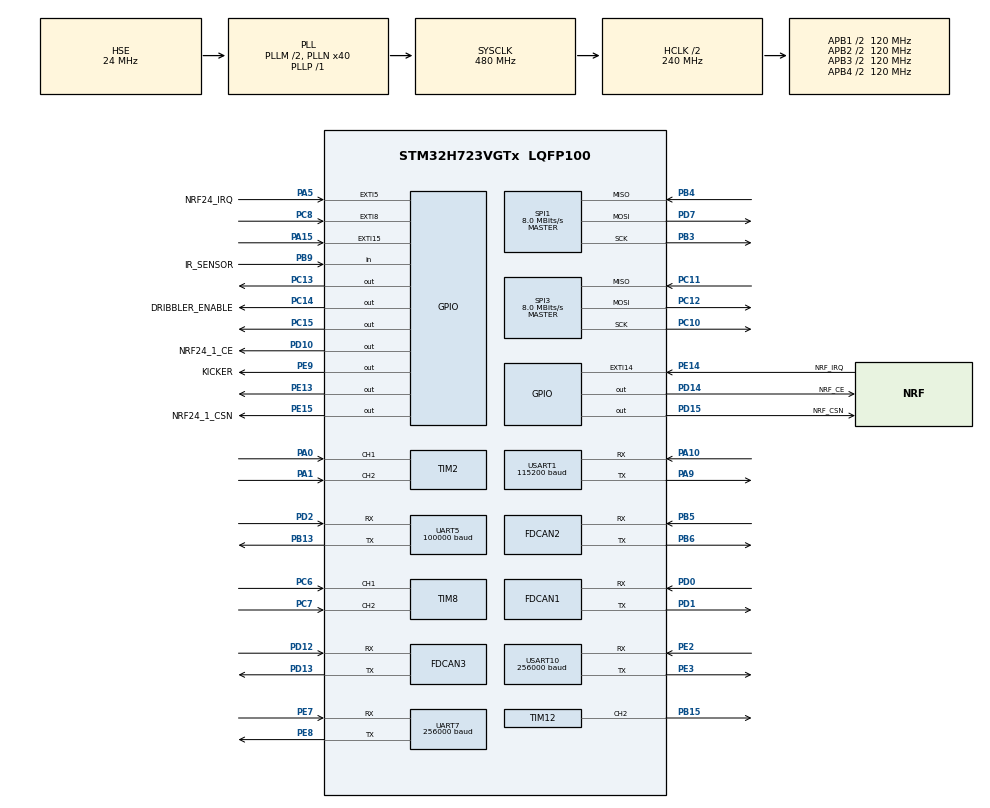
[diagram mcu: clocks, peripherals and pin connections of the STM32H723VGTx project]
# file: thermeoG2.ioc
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Dma.Request0=USART10_RX
Dma.Request1=USART10_TX
Dma.Request2=UART7_RX
Dma.Request3=UART7_TX
Dma.Request4=UART5_RX
Dma.Request5=USART1_TX
Dma.Request6=USART1_RX
Dma.UART5_RX.4.Direction=DMA_PERIPH_TO_MEMORY
Dma.UART5_RX.4.EventEnable=DISABLE
Dma.UART5_RX.4.FIFOMode=DMA_FIFOMODE_DISABLE
Dma.UART5_RX.4.Instance=DMA1_Stream1
Dma.UART5_RX.4.MemDataAlignment=DMA_MDATAALIGN_BYTE
Dma.UART5_RX.4.MemInc=DMA_MINC_ENABLE
Dma.UART5_RX.4.Mode=DMA_NORMAL
Dma.UART5_RX.4.PeriphDataAlignment=DMA_PDATAALIGN_BYTE
Dma.UART5_RX.4.PeriphInc=DMA_PINC_DISABLE
Dma.UART5_RX.4.Polarity=HAL_DMAMUX_REQ_GEN_RISING
Dma.UART5_RX.4.Priority=DMA_PRIORITY_LOW
Dma.UART5_RX.4.RequestNumber=1
Dma.UART5_RX.4.SignalID=NONE
Dma.UART5_RX.4.SyncEnable=DISABLE
Dma.UART5_RX.4.SyncPolarity=HAL_DMAMUX_SYNC_NO_EVENT
Dma.UART5_RX.4.SyncRequestNumber=1
Dma.UART5_RX.4.SyncSignalID=NONE
Dma.UART7_RX.2.Direction=DMA_PERIPH_TO_MEMORY
Dma.UART7_RX.2.EventEnable=DISABLE
Dma.UART7_RX.2.FIFOMode=DMA_FIFOMODE_DISABLE
Dma.UART7_RX.2.Instance=DMA1_Stream2
Dma.UART7_RX.2.MemDataAlignment=DMA_MDATAALIGN_BYTE
Dma.UART7_RX.2.MemInc=DMA_MINC_ENABLE
Dma.UART7_RX.2.Mode=DMA_NORMAL
Dma.UART7_RX.2.PeriphDataAlignment=DMA_PDATAALIGN_BYTE
Dma.UART7_RX.2.PeriphInc=DMA_PINC_DISABLE
Dma.UART7_RX.2.Polarity=HAL_DMAMUX_REQ_GEN_RISING
Dma.UART7_RX.2.Priority=DMA_PRIORITY_HIGH
Dma.UART7_RX.2.RequestNumber=1
Dma.UART7_RX.2.SignalID=NONE
Dma.UART7_RX.2.SyncEnable=DISABLE
Dma.UART7_RX.2.SyncPolarity=HAL_DMAMUX_SYNC_NO_EVENT
Dma.UART7_RX.2.SyncRequestNumber=1
Dma.UART7_RX.2.SyncSignalID=NONE
Dma.UART7_TX.3.Direction=DMA_MEMORY_TO_PERIPH
Dma.UART7_TX.3.EventEnable=DISABLE
Dma.UART7_TX.3.FIFOMode=DMA_FIFOMODE_DISABLE
Dma.UART7_TX.3.Instance=DMA1_Stream3
Dma.UART7_TX.3.MemDataAlignment=DMA_MDATAALIGN_BYTE
Dma.UART7_TX.3.MemInc=DMA_MINC_ENABLE
Dma.UART7_TX.3.Mode=DMA_NORMAL
Dma.UART7_TX.3.PeriphDataAlignment=DMA_PDATAALIGN_BYTE
Dma.UART7_TX.3.PeriphInc=DMA_PINC_DISABLE
Dma.UART7_TX.3.Polarity=HAL_DMAMUX_REQ_GEN_RISING
Dma.UART7_TX.3.Priority=DMA_PRIORITY_HIGH
Dma.UART7_TX.3.RequestNumber=1
Dma.UART7_TX.3.SignalID=NONE
Dma.UART7_TX.3.SyncEnable=DISABLE
Dma.UART7_TX.3.SyncPolarity=HAL_DMAMUX_SYNC_NO_EVENT
Dma.UART7_TX.3.SyncRequestNumber=1
Dma.UART7_TX.3.SyncSignalID=NONE
Dma.USART10_RX.0.Direction=DMA_PERIPH_TO_MEMORY
Dma.USART10_RX.0.EventEnable=DISABLE
Dma.USART10_RX.0.FIFOMode=DMA_FIFOMODE_DISABLE
Dma.USART10_RX.0.Instance=DMA1_Stream0
Dma.USART10_RX.0.MemDataAlignment=DMA_MDATAALIGN_BYTE
Dma.USART10_RX.0.MemInc=DMA_MINC_ENABLE
Dma.USART10_RX.0.Mode=DMA_NORMAL
Dma.USART10_RX.0.PeriphDataAlignment=DMA_PDATAALIGN_BYTE
Dma.USART10_RX.0.PeriphInc=DMA_PINC_DISABLE
Dma.USART10_RX.0.Polarity=HAL_DMAMUX_REQ_GEN_RISING
Dma.USART10_RX.0.Priority=DMA_PRIORITY_LOW
Dma.USART10_RX.0.RequestNumber=1
Dma.USART10_RX.0.SignalID=NONE
Dma.USART10_RX.0.SyncEnable=DISABLE
Dma.USART10_RX.0.SyncPolarity=HAL_DMAMUX_SYNC_NO_EVENT
Dma.USART10_RX.0.SyncRequestNumber=1
Dma.USART10_RX.0.SyncSignalID=NONE
Dma.USART10_TX.1.Direction=DMA_MEMORY_TO_PERIPH
Dma.USART10_TX.1.EventEnable=DISABLE
Dma.USART10_TX.1.FIFOMode=DMA_FIFOMODE_DISABLE
Dma.USART10_TX.1.Instance=DMA1_Stream4
Dma.USART10_TX.1.MemDataAlignment=DMA_MDATAALIGN_BYTE
Dma.USART10_TX.1.MemInc=DMA_MINC_ENABLE
Dma.USART10_TX.1.Mode=DMA_NORMAL
Dma.USART10_TX.1.PeriphDataAlignment=DMA_PDATAALIGN_BYTE
Dma.USART10_TX.1.PeriphInc=DMA_PINC_DISABLE
Dma.USART10_TX.1.Polarity=HAL_DMAMUX_REQ_GEN_RISING
Dma.USART10_TX.1.Priority=DMA_PRIORITY_LOW
Dma.USART10_TX.1.RequestNumber=1
Dma.USART10_TX.1.SignalID=NONE
Dma.USART10_TX.1.SyncEnable=DISABLE
Dma.USART10_TX.1.SyncPolarity=HAL_DMAMUX_SYNC_NO_EVENT
Dma.USART10_TX.1.SyncRequestNumber=1
Dma.USART10_TX.1.SyncSignalID=NONE
Dma.USART1_RX.6.Direction=DMA_PERIPH_TO_MEMORY
Dma.USART1_RX.6.EventEnable=DISABLE
Dma.USART1_RX.6.FIFOMode=DMA_FIFOMODE_DISABLE
Dma.USART1_RX.6.Instance=DMA1_Stream6
Dma.USART1_RX.6.MemDataAlignment=DMA_MDATAALIGN_BYTE
Dma.USART1_RX.6.MemInc=DMA_MINC_ENABLE
Dma.USART1_RX.6.Mode=DMA_NORMAL
Dma.USART1_RX.6.PeriphDataAlignment=DMA_PDATAALIGN_BYTE
Dma.USART1_RX.6.PeriphInc=DMA_PINC_DISABLE
Dma.USART1_RX.6.Polarity=HAL_DMAMUX_REQ_GEN_RISING
Dma.USART1_RX.6.Priority=DMA_PRIORITY_LOW
Dma.USART1_RX.6.RequestNumber=1
Dma.USART1_RX.6.SignalID=NONE
Dma.USART1_RX.6.SyncEnable=DISABLE
Dma.USART1_RX.6.SyncPolarity=HAL_DMAMUX_SYNC_NO_EVENT
Dma.USART1_RX.6.SyncRequestNumber=1
Dma.USART1_RX.6.SyncSignalID=NONE
Dma.USART1_TX.5.Direction=DMA_MEMORY_TO_PERIPH
Dma.USART1_TX.5.EventEnable=DISABLE
Dma.USART1_TX.5.FIFOMode=DMA_FIFOMODE_DISABLE
Dma.USART1_TX.5.Instance=DMA1_Stream5
Dma.USART1_TX.5.MemDataAlignment=DMA_MDATAALIGN_BYTE
Dma.USART1_TX.5.MemInc=DMA_MINC_ENABLE
Dma.USART1_TX.5.Mode=DMA_NORMAL
Dma.USART1_TX.5.PeriphDataAlignment=DMA_PDATAALIGN_BYTE
Dma.USART1_TX.5.PeriphInc=DMA_PINC_DISABLE
Dma.USART1_TX.5.Polarity=HAL_DMAMUX_REQ_GEN_RISING
Dma.USART1_TX.5.Priority=DMA_PRIORITY_LOW
Dma.USART1_TX.5.RequestNumber=1
Dma.USART1_TX.5.SignalID=NONE
Dma.USART1_TX.5.SyncEnable=DISABLE
Dma.USART1_TX.5.SyncPolarity=HAL_DMAMUX_SYNC_NO_EVENT
Dma.USART1_TX.5.SyncRequestNumber=1
Dma.USART1_TX.5.SyncSignalID=NONE
FDCAN1.CalculateBaudRateNominal=1000000
FDCAN1.CalculateTimeBitNominal=1000
FDCAN1.CalculateTimeQuantumNominal=25.0
FDCAN1.DataPrescaler=3
FDCAN1.DataSyncJumpWidth=10
FDCAN1.DataTimeSeg1=29
FDCAN1.DataTimeSeg2=10
FDCAN1.ExtFiltersNbr=0
FDCAN1.NominalPrescaler=3
FDCAN1.NominalSyncJumpWidth=10
FDCAN1.NominalTimeSeg1=29
FDCAN1.NominalTimeSeg2=10
FDCAN1.ProtocolException=ENABLE
FDCAN1.RxFifo0ElmtsNbr=4
FDCAN1.StdFiltersNbr=1
FDCAN1.TxFifoQueueElmtsNbr=2
FDCAN2.CalculateBaudRateNominal=1000000
FDCAN2.CalculateTimeBitNominal=1000
FDCAN2.CalculateTimeQuantumNominal=25.0
FDCAN2.DataPrescaler=3
FDCAN2.DataSyncJumpWidth=10
FDCAN2.DataTimeSeg1=29
FDCAN2.DataTimeSeg2=10
FDCAN2.NominalPrescaler=3
FDCAN2.NominalSyncJumpWidth=10
FDCAN2.NominalTimeSeg1=29
FDCAN2.NominalTimeSeg2=10
FDCAN2.ProtocolException=ENABLE
FDCAN2.RxFifo0ElmtsNbr=4
FDCAN2.StdFiltersNbr=1
FDCAN2.TxFifoQueueElmtsNbr=2
FDCAN3.CalculateBaudRateNominal=1000000
FDCAN3.CalculateTimeBitNominal=1000
FDCAN3.CalculateTimeQuantumNominal=25.0
FDCAN3.DataPrescaler=3
FDCAN3.DataSyncJumpWidth=10
FDCAN3.DataTimeSeg1=29
FDCAN3.DataTimeSeg2=10
FDCAN3.NominalPrescaler=3
FDCAN3.NominalSyncJumpWidth=10
FDCAN3.NominalTimeSeg1=29
FDCAN3.NominalTimeSeg2=10
FDCAN3.ProtocolException=ENABLE
FDCAN3.RxFifo0ElmtsNbr=4
FDCAN3.StdFiltersNbr=1
FDCAN3.TxFifoQueueElmtsNbr=2
FREERTOS.Tasks01=defaultTask,24,128,StartDefaultTask,Default,NULL,Dynamic,NULL,NULL
Mcu.Family=STM32H7
Mcu.Name=STM32H723VGTx
Mcu.Package=LQFP100
NVIC.DMA1_Stream0_IRQn=true\:5\:0\:false\:false\:true\:true\:false\:true\:true
NVIC.DMA1_Stream1_IRQn=true\:5\:0\:false\:false\:true\:true\:false\:true\:true
NVIC.DMA1_Stream2_IRQn=true\:5\:0\:false\:false\:true\:true\:false\:true\:true
NVIC.DMA1_Stream3_IRQn=true\:5\:0\:false\:false\:true\:true\:false\:true\:true
NVIC.DMA1_Stream4_IRQn=true\:5\:0\:false\:false\:true\:true\:false\:true\:true
NVIC.DMA1_Stream5_IRQn=true\:5\:0\:false\:false\:true\:true\:false\:true\:true
NVIC.DMA1_Stream6_IRQn=true\:5\:0\:false\:false\:true\:true\:false\:true\:true
NVIC.EXTI15_10_IRQn=true\:5\:0\:true\:false\:true\:true\:true\:true\:true
NVIC.EXTI9_5_IRQn=true\:5\:0\:true\:false\:true\:true\:true\:true\:true
NVIC.FDCAN3_IT0_IRQn=true\:10\:0\:true\:false\:true\:true\:true\:true\:true
NVIC.FDCAN3_IT1_IRQn=true\:10\:0\:true\:false\:true\:true\:true\:true\:true
NVIC.FDCAN_CAL_IRQn=true\:5\:0\:false\:false\:true\:true\:true\:true\:true
NVIC.PriorityGroup=NVIC_PRIORITYGROUP_4
NVIC.SPI1_IRQn=true\:11\:0\:true\:false\:true\:true\:true\:true\:true
NVIC.TIM23_IRQn=true\:5\:0\:false\:false\:true\:true\:true\:true\:true
NVIC.TIM4_IRQn=true\:5\:0\:false\:false\:true\:true\:true\:true\:true
NVIC.TIM6_DAC_IRQn=true\:15\:0\:true\:false\:true\:false\:false\:true\:true
NVIC.TimeBase=TIM6_DAC_IRQn
NVIC.TimeBaseIP=TIM6
NVIC.UART5_IRQn=true\:5\:0\:false\:false\:true\:true\:true\:true\:true
NVIC.UART7_IRQn=true\:5\:0\:true\:false\:true\:true\:true\:true\:true
NVIC.USART10_IRQn=true\:5\:0\:true\:false\:true\:true\:true\:true\:true
NVIC.USART1_IRQn=true\:5\:0\:true\:false\:true\:true\:true\:true\:true
PA0.Signal=S_TIM2_CH1_ETR
PA1.Signal=S_TIM2_CH2
PA10.Mode=Asynchronous
PA10.Signal=USART1_RX
PA13(JTMS/SWDIO).Mode=Serial_Wire
PA13(JTMS/SWDIO).Signal=DEBUG_JTMS-SWDIO
PA14(JTCK/SWCLK).Mode=Serial_Wire
PA14(JTCK/SWCLK).Signal=DEBUG_JTCK-SWCLK
PA15(JTDI).GPIO_ModeDefaultEXTI=GPIO_MODE_IT_RISING_FALLING
PA15(JTDI).GPIO_PuPd=GPIO_NOPULL
PA15(JTDI).Signal=GPXTI15
PA5.GPIO_Label=NRF24_IRQ
PA5.GPIO_ModeDefaultEXTI=GPIO_MODE_IT_FALLING
PA5.Signal=GPXTI5
PA9.Mode=Asynchronous
PA9.Signal=USART1_TX
PB13.Mode=Asynchronous
PB13.Signal=UART5_TX
PB15.Signal=S_TIM12_CH2
PB3(JTDO/TRACESWO).Mode=Full_Duplex_Master
PB3(JTDO/TRACESWO).Signal=SPI1_SCK
PB4(NJTRST).Mode=Full_Duplex_Master
PB4(NJTRST).Signal=SPI1_MISO
PB5.Mode=FDCAN_Activate
PB5.Signal=FDCAN2_RX
PB6.Mode=FDCAN_Activate
PB6.Signal=FDCAN2_TX
PB9.GPIO_Label=IR_SENSOR
PB9.Signal=GPIO_Input
PC10.Mode=Full_Duplex_Master
PC10.Signal=SPI3_SCK
PC11.Mode=Full_Duplex_Master
PC11.Signal=SPI3_MISO
PC12.Mode=Full_Duplex_Master
PC12.Signal=SPI3_MOSI
PC13.Signal=GPIO_Output
PC14-OSC32_IN.GPIO_Label=DRIBBLER_ENABLE
PC14-OSC32_IN.Signal=GPIO_Output
PC15-OSC32_OUT.Signal=GPIO_Output
PC6.Signal=S_TIM8_CH1
PC7.Signal=S_TIM8_CH2
PC8.GPIO_ModeDefaultEXTI=GPIO_MODE_IT_RISING
PC8.GPIO_PuPd=GPIO_NOPULL
PC8.Signal=GPXTI8
PD0.Mode=FDCAN_Activate
PD0.Signal=FDCAN1_RX
PD1.Mode=FDCAN_Activate
PD1.Signal=FDCAN1_TX
PD10.GPIO_Label=NRF24_1_CE
PD10.GPIO_Speed=GPIO_SPEED_FREQ_HIGH
PD10.PinState=GPIO_PIN_RESET
PD10.Signal=GPIO_Output
PD12.Mode=FDCAN_Activate
PD12.Signal=FDCAN3_RX
PD13.Mode=FDCAN_Activate
PD13.Signal=FDCAN3_TX
PD14.GPIO_Label=NRF_CE
PD14.GPIO_Speed=GPIO_SPEED_FREQ_HIGH
PD14.Signal=GPIO_Output
PD15.GPIO_Label=NRF_CSN
PD15.Signal=GPIO_Output
PD2.Mode=Asynchronous
PD2.Signal=UART5_RX
PD7.Mode=Full_Duplex_Master
PD7.Signal=SPI1_MOSI
PE13.Signal=GPIO_Output
PE14.GPIO_Label=NRF_IRQ
PE14.GPIO_ModeDefaultEXTI=GPIO_MODE_IT_FALLING
PE14.Signal=GPXTI14
PE15.GPIO_Label=NRF24_1_CSN
PE15.PinState=GPIO_PIN_RESET
PE15.Signal=GPIO_Output
PE2.Mode=Asynchronous
PE2.Signal=USART10_RX
PE3.Mode=Asynchronous
PE3.Signal=USART10_TX
PE7.Mode=Asynchronous
PE7.Signal=UART7_RX
PE8.Mode=Asynchronous
PE8.Signal=UART7_TX
PE9.GPIO_Label=KICKER
PE9.Signal=GPIO_Output
PH0-OSC_IN.Mode=HSE-External-Oscillator
PH0-OSC_IN.Signal=RCC_OSC_IN
PH1-OSC_OUT.Mode=HSE-External-Oscillator
PH1-OSC_OUT.Signal=RCC_OSC_OUT
ProjectManager.HeapSize=0x200
ProjectManager.StackSize=0x400
ProjectManager.TargetToolchain=Makefile
RCC.ADCFreq_Value=48375000
RCC.APB1Freq_Value=120000000
RCC.APB2Freq_Value=120000000
RCC.APB3Freq_Value=120000000
RCC.APB4Freq_Value=120000000
RCC.CortexFreq_Value=480000000
RCC.D1PPRE=RCC_APB3_DIV2
RCC.D2PPRE1=RCC_APB1_DIV2
RCC.D2PPRE2=RCC_APB2_DIV2
RCC.D3PPRE=RCC_APB4_DIV2
RCC.DIVM1=2
RCC.DIVN1=40
RCC.DIVP1=1
RCC.DIVQ1=4
RCC.HCLKFreq_Value=240000000
RCC.HPRE=RCC_HCLK_DIV2
RCC.HSE_VALUE=24000000
RCC.PLL2FRACN=0
RCC.PLL3FRACN=0
RCC.PLLFRACN=0
RCC.PLLSourceVirtual=RCC_PLLSOURCE_HSE
RCC.SPI123CLockSelection=RCC_SPI123CLKSOURCE_CLKP
RCC.SYSCLKFreq_VALUE=480000000
RCC.SYSCLKSource=RCC_SYSCLKSOURCE_PLLCLK
RCC.USBFreq_Value=120000000
SH.S_TIM12_CH2.0=TIM12_CH2,PWM Generation2 CH2
SH.S_TIM2_CH1_ETR.0=TIM2_CH1,Encoder_Interface
SH.S_TIM2_CH2.0=TIM2_CH2,Encoder_Interface
SH.S_TIM8_CH1.0=TIM8_CH1,Encoder_Interface
SH.S_TIM8_CH2.0=TIM8_CH2,Encoder_Interface
SPI1.BaudRatePrescaler=SPI_BAUDRATEPRESCALER_8
SPI1.CLKPolarity=SPI_POLARITY_LOW
SPI1.CRCCalculation=SPI_CRCCALCULATION_DISABLE
SPI1.CalculateBaudRate=8.0 MBits/s
SPI1.DataSize=SPI_DATASIZE_8BIT
SPI1.Direction=SPI_DIRECTION_2LINES
SPI1.Mode=SPI_MODE_MASTER
SPI1.VirtualType=VM_MASTER
SPI3.BaudRatePrescaler=SPI_BAUDRATEPRESCALER_8
SPI3.CalculateBaudRate=8.0 MBits/s
SPI3.DataSize=SPI_DATASIZE_8BIT
SPI3.Direction=SPI_DIRECTION_2LINES
SPI3.Mode=SPI_MODE_MASTER
SPI3.VirtualType=VM_MASTER
TIM1.Prescaler=134
TIM12.Channel-PWM\ Generation2\ CH2=TIM_CHANNEL_2
TIM23.Period=720
TIM23.Prescaler=10000
TIM4.Period=5000
TIM4.Prescaler=24000
TIM8.EncoderMode=TIM_ENCODERMODE_TI12
UART5.BaudRate=100000
UART5.Parity=PARITY_EVEN
UART5.RxPinLevelInvertParam=UART_ADVFEATURE_RXINV_DISABLE
UART5.StopBits=UART_STOPBITS_2
UART5.WordLength=WORDLENGTH_9B
UART7.BaudRate=256000
USART1.BaudRate=115200
USART1.DataInvertParam=ADVFEATURE_DATAINV_DISABLE
USART1.Parity=PARITY_EVEN
USART1.StopBits=STOPBITS_2
USART1.SwapParam=ADVFEATURE_SWAP_DISABLE
USART1.VirtualMode-Asynchronous=VM_ASYNC
USART1.WordLength=WORDLENGTH_9B
USART10.BaudRate=256000
USART10.FIFOMode=FIFOMODE_DISABLE
USART10.VirtualMode=VM_ASYNC
VP_FREERTOS_VS_CMSIS_V2.Mode=CMSIS_V2
VP_MEMORYMAP_VS_MEMORYMAP.Mode=CurAppReg
VP_SYS_VS_tim6.Mode=TIM6
VP_TIM1_VS_ClockSourceINT.Mode=Internal
VP_TIM23_VS_ClockSourceINT.Mode=Internal
VP_TIM4_VS_ClockSourceINT.Mode=Internal
board=custom

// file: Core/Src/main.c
/* USER CODE BEGIN Header */
/**
  ******************************************************************************
  * @file           : main.c
  * @brief          : Main program body
  ******************************************************************************
  * @attention
  *
  * Copyright (c) 2025 STMicroelectronics.
  * All rights reserved.
  *
  * This software is licensed under terms that can be found in the LICENSE file
  * in the root directory of this software component.
  * If no LICENSE file comes with this software, it is provided AS-IS.
  *
  ******************************************************************************
  */
/* USER CODE END Header */
#include "main.h"
#include "cmsis_os.h"
#include "dma.h"
#include "fdcan.h"
#include "spi.h"
#include "tim.h"
#include "usart.h"
#include "gpio.h"

/* USER CODE BEGIN Includes */
#include "radio/radio.h"
#include "bsp_pid.h"
#include "bsp_motor_feedback.h"
#include "bsp_inverse_kinematics.h"
#include "bsp_fdcan.h"
#include "bsp_sbus_controller.h"
#include <math.h>
#include <string.h>
/* USER CODE END Includes */

/* USER CODE BEGIN PD */
/* Motor control parameters */
#define MOTOR_COUNT 4
#define MOTOR_ID_1 0x201
#define MOTOR_ID_2 0x202
#define MOTOR_ID_3 0x203
#define MOTOR_ID_4 0x204
#define RPM_TO_RADS 0.10472f  // 2*pi/60 to convert RPM to rad/s

/* USER CODE END PD */

/* USER CODE BEGIN PV */
// Debug flags
volatile uint8_t can_init_status = 0;    // 0=not initialized, 1=success, 2=failed
volatile uint32_t can_tx_count = 0;      // Count of successful transmissions
volatile uint32_t can_error_count = 0;   // Count of transmission errors

// Motor control variables
float motor1_error_sum = 0.0f;
float motor1_last_error = 0.0f;
float motor2_error_sum = 0.0f;
float motor2_last_error = 0.0f;
float motor3_error_sum = 0.0f;
float motor3_last_error = 0.0f;
float motor4_error_sum = 0.0f;
float motor4_last_error = 0.0f;

// Output filtering variables
float output1_filtered = 0.0f;
float output2_filtered = 0.0f;
float output3_filtered = 0.0f;
float output4_filtered = 0.0f;

// Low-pass filter coefficient
volatile float alpha = 0.2f;

// Add debug counters for CAN reception
extern volatile uint32_t can1_rx_count;
extern volatile uint32_t can2_rx_count;
extern volatile uint32_t can3_rx_count;

/* USER CODE END PV */

void SystemClock_Config(void);
void PeriphCommonClock_Config(void);
void MX_FREERTOS_Init(void);

/* USER CODE BEGIN 0 */
// Redirect printf to UART
int _write(int file, char *ptr, int len)
{
    HAL_UART_Transmit(&huart1, (uint8_t*)ptr, len, HAL_MAX_DELAY);
    return len;
}
/* USER CODE END 0 */

int main(void)
{

  /* USER CODE BEGIN 1 */

  NRF24_TypeDef nrf24_1;
  /* USER CODE END 1 */

  /* MCU Configuration--------------------------------------------------------*/

  /* Reset of all peripherals, Initializes the Flash interface and the Systick. */
  HAL_Init();

  /* USER CODE BEGIN Init */

    nrf24_1.hspi = &hspi1;
    nrf24_1.cePort = NRF24_1_CE_GPIO_Port;
    nrf24_1.cePin = NRF24_1_CE_Pin;
    nrf24_1.csPort = NRF24_1_CSN_GPIO_Port;
    nrf24_1.csPin = NRF24_1_CSN_Pin;
  /* USER CODE END Init */

  /* Configure the system clock */
  SystemClock_Config();

  /* Configure the peripherals common clocks */
  PeriphCommonClock_Config();

  /* Initialize all configured peripherals */
  MX_GPIO_Init();
  MX_DMA_Init();
  MX_TIM1_Init();
  MX_USART10_UART_Init();
  MX_UART7_Init();
  MX_FDCAN1_Init();
  MX_FDCAN2_Init();
  MX_UART5_Init();
  MX_TIM2_Init();
  MX_SPI1_Init();
  MX_USART1_UART_Init();
  MX_TIM4_Init();
  MX_FDCAN3_Init();
  MX_TIM8_Init();
  MX_TIM23_Init();
  MX_TIM12_Init();
  MX_SPI3_Init();
  /* USER CODE BEGIN 2 */
  /*power init begin*/
  HAL_GPIO_WritePin(GPIOC,GPIO_PIN_14,GPIO_PIN_SET);
  HAL_GPIO_WritePin(GPIOC,GPIO_PIN_13,GPIO_PIN_SET);
  HAL_GPIO_WritePin(GPIOC,GPIO_PIN_15,GPIO_PIN_SET);

  // Initialize FDCAN with BSP function
  BSP_FDCAN_Init();
  BSP_InverseKinematics_Init();
  can_init_status = 1;  // Success

  HAL_TIM_Base_Start_IT(&htim4);

  radio(&nrf24_1);
  /* USER CODE END 2 */

  /* Init scheduler */
  osKernelInitialize();  /* Call init function for freertos objects (in cmsis_os2.c) */
  MX_FREERTOS_Init();

  /* Start scheduler */
  osKernelStart();

  /* We should never get here as control is now taken by the scheduler */

  /* Infinite loop */
  while (1)
  {

    /* USER CODE BEGIN 3 */
    // Poll NRF24 for new data
    poll(&nrf24_1);

    // Map NRF24 received values to velocities
    float vx = currentPacket.forward_vel;  // Forward/backward
    float vy = currentPacket.left_vel;     // Left/right
    float omega = currentPacket.angular_vel; // Angular velocity

    // Calculate target wheel velocities using inverse kinematics
    float wheel_velocities[4];  // Now 4 elements
    BSP_InverseKinematics_Calculate(vx, vy, omega, wheel_velocities);

    // Get actual motor velocities from FDCAN feedback
    motor_feedback_t* feedback1 = BSP_MotorFeedback_GetMotorData(0);
    motor_feedback_t* feedback2 = BSP_MotorFeedback_GetMotorData(1);
    motor_feedback_t* feedback3 = BSP_MotorFeedback_GetMotorData(2);
    motor_feedback_t* feedback4 = BSP_MotorFeedback_GetMotorData(3);

    // Convert rotor speed to wheel speed by dividing by gear ratio
    float actual_velocity1 = feedback1 ? (feedback1->rotor_speed * RPM_TO_RADS) / GEAR_RATIO : 0.0f;
    float actual_velocity2 = feedback2 ? (feedback2->rotor_speed * RPM_TO_RADS) / GEAR_RATIO : 0.0f;
    float actual_velocity3 = feedback3 ? (feedback3->rotor_speed * RPM_TO_RADS) / GEAR_RATIO : 0.0f;
    float actual_velocity4 = feedback4 ? (feedback4->rotor_speed * RPM_TO_RADS) / GEAR_RATIO : 0.0f;

    // Calculate motor outputs using PID and apply low-pass filter
    output1_filtered = alpha * BSP_PID_Calculate(0, wheel_velocities[0], actual_velocity1) +
                      (1.0f - alpha) * output1_filtered;
    output2_filtered = alpha * BSP_PID_Calculate(1, wheel_velocities[1], actual_velocity2) +
                      (1.0f - alpha) * output2_filtered;
    output3_filtered = alpha * BSP_PID_Calculate(2, wheel_velocities[2], actual_velocity3) +
                      (1.0f - alpha) * output3_filtered;
    output4_filtered = alpha * BSP_PID_Calculate(3, wheel_velocities[3], actual_velocity4) +
                      (1.0f - alpha) * output4_filtered;

    // Convert to CAN format (-16384 to 16384 for DM3519)
    int16_t output1_int = (int16_t)(output1_filtered);
    int16_t output2_int = (int16_t)(output2_filtered);
    int16_t output3_int = (int16_t)(output3_filtered);
    int16_t output4_int = (int16_t)(output4_filtered);

    // Pack data into CAN message
    uint8_t can_cmd[8] = {0};
    can_cmd[0] = (output1_int >> 8) & 0xFF;
    can_cmd[1] = output1_int & 0xFF;
    can_cmd[2] = (output2_int >> 8) & 0xFF;
    can_cmd[3] = output2_int & 0xFF;
    can_cmd[4] = (output3_int >> 8) & 0xFF;
    can_cmd[5] = output3_int & 0xFF;
    can_cmd[6] = (output4_int >> 8) & 0xFF;
    can_cmd[7] = output4_int & 0xFF;

    // Send CAN message
    BSP_FDCAN_Send_Message(&hfdcan3, 0x200, can_cmd, 8);

    HAL_Delay(CONTROL_PERIOD_MS);
  }
  /* USER CODE END 3 */
}

void SystemClock_Config(void)
{
  RCC_OscInitTypeDef RCC_OscInitStruct = {0};
  RCC_ClkInitTypeDef RCC_ClkInitStruct = {0};

  /** Supply configuration update enable
  */
  HAL_PWREx_ConfigSupply(PWR_LDO_SUPPLY);

  /** Configure the main internal regulator output voltage
  */
  __HAL_PWR_VOLTAGESCALING_CONFIG(PWR_REGULATOR_VOLTAGE_SCALE0);

  while(!__HAL_PWR_GET_FLAG(PWR_FLAG_VOSRDY)) {}

  /** Initializes the RCC Oscillators according to the specified parameters
  * in the RCC_OscInitTypeDef structure.
  */
  RCC_OscInitStruct.OscillatorType = RCC_OSCILLATORTYPE_HSI|RCC_OSCILLATORTYPE_HSE;
  RCC_OscInitStruct.HSEState = RCC_HSE_ON;
  RCC_OscInitStruct.HSIState = RCC_HSI_DIV1;
  RCC_OscInitStruct.HSICalibrationValue = 64;
  RCC_OscInitStruct.PLL.PLLState = RCC_PLL_ON;
  RCC_OscInitStruct.PLL.PLLSource = RCC_PLLSOURCE_HSE;
  RCC_OscInitStruct.PLL.PLLM = 2;
  RCC_OscInitStruct.PLL.PLLN = 40;
  RCC_OscInitStruct.PLL.PLLP = 1;
  RCC_OscInitStruct.PLL.PLLQ = 4;
  RCC_OscInitStruct.PLL.PLLR = 2;
  RCC_OscInitStruct.PLL.PLLRGE = RCC_PLL1VCIRANGE_3;
  RCC_OscInitStruct.PLL.PLLVCOSEL = RCC_PLL1VCOWIDE;
  RCC_OscInitStruct.PLL.PLLFRACN = 0;
  if (HAL_RCC_OscConfig(&RCC_OscInitStruct) != HAL_OK)
  {
    Error_Handler();
  }

  /** Initializes the CPU, AHB and APB buses clocks
  */
  RCC_ClkInitStruct.ClockType = RCC_CLOCKTYPE_HCLK|RCC_CLOCKTYPE_SYSCLK
                              |RCC_CLOCKTYPE_PCLK1|RCC_CLOCKTYPE_PCLK2
                              |RCC_CLOCKTYPE_D3PCLK1|RCC_CLOCKTYPE_D1PCLK1;
  RCC_ClkInitStruct.SYSCLKSource = RCC_SYSCLKSOURCE_PLLCLK;
  RCC_ClkInitStruct.SYSCLKDivider = RCC_SYSCLK_DIV1;
  RCC_ClkInitStruct.AHBCLKDivider = RCC_HCLK_DIV2;
  RCC_ClkInitStruct.APB3CLKDivider = RCC_APB3_DIV2;
  RCC_ClkInitStruct.APB1CLKDivider = RCC_APB1_DIV2;
  RCC_ClkInitStruct.APB2CLKDivider = RCC_APB2_DIV2;
  RCC_ClkInitStruct.APB4CLKDivider = RCC_APB4_DIV2;

  if (HAL_RCC_ClockConfig(&RCC_ClkInitStruct, FLASH_LATENCY_3) != HAL_OK)
  {
    Error_Handler();
  }
}

void PeriphCommonClock_Config(void)
{
  RCC_PeriphCLKInitTypeDef PeriphClkInitStruct = {0};

  /** Initializes the peripherals clock
  */
  PeriphClkInitStruct.PeriphClockSelection = RCC_PERIPHCLK_CKPER;
  PeriphClkInitStruct.CkperClockSelection = RCC_CLKPSOURCE_HSI;
  if (HAL_RCCEx_PeriphCLKConfig(&PeriphClkInitStruct) != HAL_OK)
  {
    Error_Handler();
  }
}

/* USER CODE BEGIN 4 */
void HAL_UART_RxCpltCallback(UART_HandleTypeDef *huart)
{
  if (huart->Instance == UART5)
  {
    BSP_SBUS_UART_RxCpltCallback(huart);
  }
}
/* USER CODE END 4 */

void HAL_TIM_PeriodElapsedCallback(TIM_HandleTypeDef *htim)
{
  if (htim->Instance == TIM6)
  {
    HAL_IncTick();
  }
}

void Error_Handler(void)
{
  __disable_irq();
  while (1)
  {
  }
}
